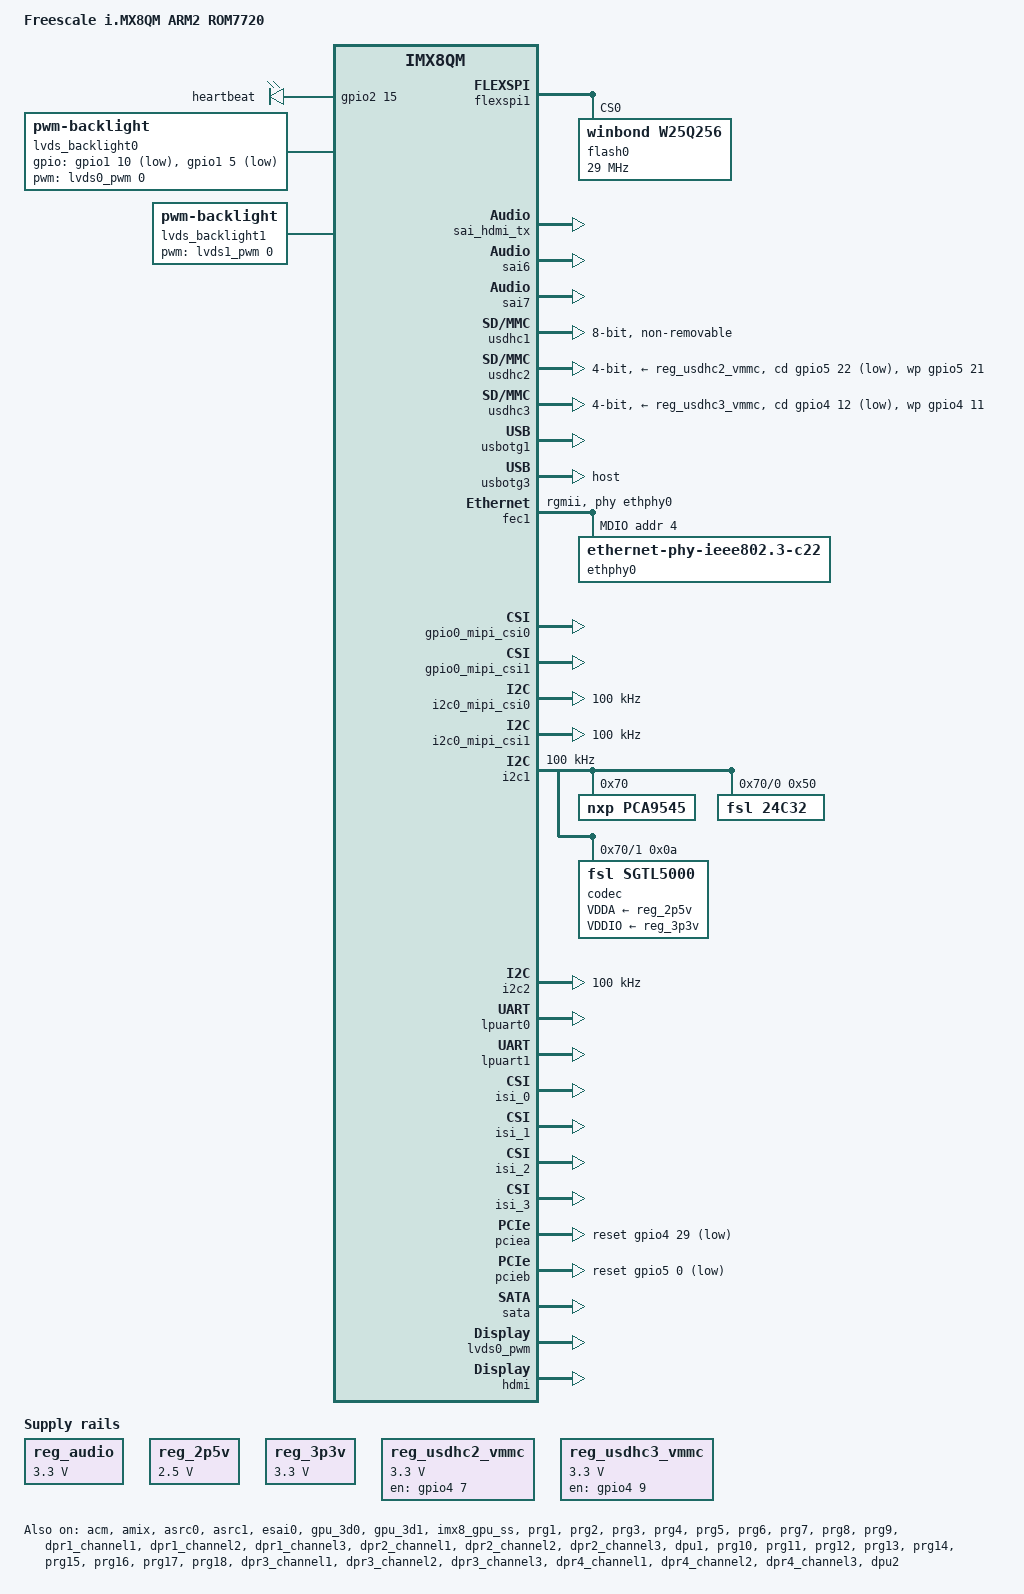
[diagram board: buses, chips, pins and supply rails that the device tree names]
/*
 * Copyright 2017 NXP
 *
 * This program is free software; you can redistribute it and/or
 * modify it under the terms of the GNU General Public License
 * as published by the Free Software Foundation; either version 2
 * of the License, or (at your option) any later version.
 *
 * This program is distributed in the hope that it will be useful,
 * but WITHOUT ANY WARRANTY; without even the implied warranty of
 * MERCHANTABILITY or FITNESS FOR A PARTICULAR PURPOSE.  See the
 * GNU General Public License for more details.
 */

/dts-v1/;

#include "fsl-imx8qm.dtsi"

/ {
	model = "Freescale i.MX8QM ARM2 ROM7720";

	compatible = "fsl,imx8qm-arm2", "fsl,imx8qm";
/*
	bcmdhd_wlan_0: bcmdhd_wlan@0 {
		compatible = "android,bcmdhd_wlan";
		bcmdhd_fw = "/lib/firmware/bcm/1FD_BCM89359/fw_bcmdhd.bin";
		bcmdhd_nv = "/lib/firmware/bcm/1FD_BCM89359/bcmdhd.cal";
	};
*/
	chosen {
		bootargs = "console=ttyLP0,115200 earlycon=lpuart32,0x5a060000,115200";
		stdout-path = &lpuart0;
	};

	leds {
		compatible = "gpio-leds";
		pinctrl-names = "default";
		pinctrl-0 = <&pinctrl_gpio_leds>;
		user {
			label = "heartbeat";
			gpios = <&gpio2 15 0>;
			default-state = "on";
			linux,default-trigger = "heartbeat";
		};
	};

	regulators {
		compatible = "simple-bus";
		#address-cells = <1>;
		#size-cells = <0>;

		reg_audio: regulator@0 {
			compatible = "regulator-fixed";
			reg = <2>;
			regulator-name = "cs42888_supply";
			regulator-min-microvolt = <3300000>;
			regulator-max-microvolt = <3300000>;
			regulator-always-on;
		};

		reg_2p5v: 2p5v {
			compatible = "regulator-fixed";
			regulator-name = "2P5V";
			regulator-min-microvolt = <2500000>;
			regulator-max-microvolt = <2500000>;
			regulator-always-on;
		};

		reg_3p3v: 3p3v {
			compatible = "regulator-fixed";
			regulator-name = "3P3V";
			regulator-min-microvolt = <3300000>;
			regulator-max-microvolt = <3300000>;
			regulator-always-on;
		};
		/*
		reg_can_en: regulator-can-gen {
			compatible = "regulator-fixed";
			regulator-name = "can-en";
			regulator-min-microvolt = <3300000>;
			regulator-max-microvolt = <3300000>;
			gpio = <&pca9557_b 5 GPIO_ACTIVE_HIGH>;
			enable-active-high;
		};

		reg_can_stby: regulator-can-stby {
			compatible = "regulator-fixed";
			regulator-name = "can-stby";
			regulator-min-microvolt = <3300000>;
			regulator-max-microvolt = <3300000>;
			gpio = <&pca9557_b 4 GPIO_ACTIVE_HIGH>;
			enable-active-high;
			vin-supply = <&reg_can_en>;
		};
		*/
		reg_usdhc2_vmmc: usdhc2_vmmc {
			compatible = "regulator-fixed";
			regulator-name = "sw-3p3-sd1";
			regulator-min-microvolt = <3300000>;
			regulator-max-microvolt = <3300000>;
			gpio = <&gpio4 7 GPIO_ACTIVE_HIGH>;
			off-on-delay = <3000>;
			enable-active-high;
		};

 		reg_usdhc3_vmmc: usdhc3_vmmc {
			compatible = "regulator-fixed";
			regulator-name = "sw-3p3-sd2";
			regulator-min-microvolt = <3300000>;
			regulator-max-microvolt = <3300000>;
			gpio = <&gpio4 9 GPIO_ACTIVE_HIGH>;
			enable-active-high;
		};
/*
		epdev_on: fixedregulator@100 {
			compatible = "regulator-fixed";
			regulator-min-microvolt = <3300000>;
			regulator-max-microvolt = <3300000>;
			regulator-name = "epdev_on";
			gpio = <&pca9557_b 3 0>;
			enable-active-high;
		};
*/
	};
/*
	sound-cs42888 {
		compatible = "fsl,imx8qm-sabreauto-cs42888",
				"fsl,imx-audio-cs42888";
		model = "imx-cs42888";
		esai-controller = <&esai0>;
		audio-codec = <&codec>;
		asrc-controller = <&asrc0>;
	};
*/
	sound-amix-sai {
#if 0
		status = "disabled";
#else
		compatible = "fsl,imx-audio-amix";
		model = "amix-audio-sai";
		dais = <&sai6>, <&sai7>;
		amix-controller = <&amix>;
#endif
	};

	sound-hdmi {
		compatible = "fsl,imx-audio-cdnhdmi";
		model = "imx-audio-hdmi";
		audio-cpu = <&sai_hdmi_tx>;
		constraint-rate = <48000>;
		protocol = <1>;
	};

	lvds_backlight0: lvds_backlight@0 {
		compatible = "pwm-backlight";
		pwms = <&lvds0_pwm 0 100000 0>;

		brightness-levels = < 0  1  2  3  4  5  6  7  8  9
				     10 11 12 13 14 15 16 17 18 19
				     20 21 22 23 24 25 26 27 28 29
				     30 31 32 33 34 35 36 37 38 39
				     40 41 42 43 44 45 46 47 48 49
				     50 51 52 53 54 55 56 57 58 59
				     60 61 62 63 64 65 66 67 68 69
				     70 71 72 73 74 75 76 77 78 79
				     80 81 82 83 84 85 86 87 88 89
				     90 91 92 93 94 95 96 97 98 99
				    100>;
		default-brightness-level = <80>;
	};

	lvds_backlight1: lvds_backlight@1 {
		compatible = "pwm-backlight";
		pwms = <&lvds1_pwm 0 100000 0>;

		brightness-levels = < 0  1  2  3  4  5  6  7  8  9
				     10 11 12 13 14 15 16 17 18 19
				     20 21 22 23 24 25 26 27 28 29
				     30 31 32 33 34 35 36 37 38 39
				     40 41 42 43 44 45 46 47 48 49
				     50 51 52 53 54 55 56 57 58 59
				     60 61 62 63 64 65 66 67 68 69
				     70 71 72 73 74 75 76 77 78 79
				     80 81 82 83 84 85 86 87 88 89
				     90 91 92 93 94 95 96 97 98 99
				    100>;
		default-brightness-level = <80>;
	};

	flexspi1: flexspi@05d130000 {
		#address-cells = <1>;
		#size-cells = <0>;
		compatible = "fsl,imx8qm-flexspi";
		reg = <0x0 0x5d130000 0x0 0x10000>,
			<0x0 0x08000000 0x0 0x19ffffff>;
		reg-names = "FlexSPI", "FlexSPI-memory";
		interrupts = <GIC_SPI 93 IRQ_TYPE_LEVEL_HIGH>;
		clocks = <&clk IMX8QM_FSPI1_CLK>;
		assigned-clock-rates = <29000000>;
		clock-names = "fspi";
		power-domains = <&pd_lsio>;
		status = "okay";
	};  
};

&acm {
	status = "okay";
};

&amix {
	status = "okay";
};

&asrc0 {
	assigned-clocks = <&clk IMX8QM_AUD_PLL0_DIV>,
			<&clk IMX8QM_AUD_ACM_AUD_PLL_CLK0_DIV>,
			<&clk IMX8QM_AUD_ACM_AUD_REC_CLK0_DIV>;
	assigned-clock-rates = <786432000>, <49152000>, <24576000>;
	fsl,asrc-rate  = <48000>;
	status = "okay";
};

&asrc1 {
	fsl,asrc-rate = <48000>;
	assigned-clocks = <&clk IMX8QM_AUD_PLL0_DIV>,
			<&clk IMX8QM_AUD_ACM_AUD_PLL_CLK0_DIV>,
			<&clk IMX8QM_AUD_ACM_AUD_REC_CLK0_DIV>;
	assigned-clock-rates = <786432000>, <49152000>, <24576000>;
	status = "okay";
};

&esai0 {
	pinctrl-names = "default";
	pinctrl-0 = <&pinctrl_esai0>;
	assigned-clocks = <&clk IMX8QM_ACM_ESAI0_MCLK_SEL>,
			<&clk IMX8QM_AUD_PLL0_DIV>,
			<&clk IMX8QM_AUD_ACM_AUD_PLL_CLK0_DIV>,
			<&clk IMX8QM_AUD_ACM_AUD_REC_CLK0_DIV>,
			<&clk IMX8QM_AUD_ESAI_0_EXTAL_IPG>;
	assigned-clock-parents = <&clk IMX8QM_AUD_ACM_AUD_PLL_CLK0_CLK>;
	assigned-clock-rates = <0>, <786432000>, <49152000>, <24576000>, <49152000>;
	status = "okay";
};

&sai_hdmi_tx {
	assigned-clocks =<&clk IMX8QM_ACM_HDMI_TX_SAI0_MCLK_SEL>,
			<&clk IMX8QM_AUD_PLL0_DIV>,
			<&clk IMX8QM_AUD_ACM_AUD_PLL_CLK0_DIV>,
			<&clk IMX8QM_AUD_ACM_AUD_REC_CLK0_DIV>,
			<&clk IMX8QM_AUD_SAI_HDMITX0_MCLK>;
	assigned-clock-parents = <&clk IMX8QM_AUD_ACM_AUD_PLL_CLK0_CLK>;
	assigned-clock-rates = <0>, <786432000>, <49152000>, <24576000>, <49152000>;
	fsl,sai-asynchronous;
	status = "okay";
};

&sai6 {
	assigned-clocks = <&clk IMX8QM_ACM_SAI6_MCLK_SEL>,
			<&clk IMX8QM_AUD_PLL1_DIV>,
			<&clk IMX8QM_AUD_ACM_AUD_PLL_CLK1_DIV>,
			<&clk IMX8QM_AUD_ACM_AUD_REC_CLK1_DIV>,
			<&clk IMX8QM_AUD_SAI_6_MCLK>;
	assigned-clock-parents = <&clk IMX8QM_AUD_ACM_AUD_PLL_CLK1_CLK>;
	assigned-clock-rates = <0>, <786432000>, <98304000>, <24576000>, <98304000>;
	fsl,sai-asynchronous;
	fsl,txm-rxs;
	status = "okay";
};

&sai7 {
	assigned-clocks = <&clk IMX8QM_ACM_SAI7_MCLK_SEL>,
			<&clk IMX8QM_AUD_PLL1_DIV>,
			<&clk IMX8QM_AUD_ACM_AUD_PLL_CLK1_DIV>,
			<&clk IMX8QM_AUD_ACM_AUD_REC_CLK1_DIV>,
			<&clk IMX8QM_AUD_SAI_7_MCLK>;
	assigned-clock-parents = <&clk IMX8QM_AUD_ACM_AUD_PLL_CLK1_CLK>;
	assigned-clock-rates = <0>, <786432000>, <98304000>, <24576000>, <98304000>;
	fsl,sai-asynchronous;
	fsl,txm-rxs;
	status = "okay";
};

&iomuxc {
	imx8qm-arm2 {

		pinctrl_esai0: esai0grp {
			fsl,pins = <
				SC_P_ESAI0_FSR_AUD_ESAI0_FSR		0xc600004c
				SC_P_ESAI0_FST_AUD_ESAI0_FST		0xc600004c
				SC_P_ESAI0_SCKR_AUD_ESAI0_SCKR		0xc600004c
				SC_P_ESAI0_SCKT_AUD_ESAI0_SCKT		0xc600004c
				SC_P_ESAI0_TX0_AUD_ESAI0_TX0		0xc600004c
				SC_P_ESAI0_TX1_AUD_ESAI0_TX1		0xc600004c
				SC_P_ESAI0_TX2_RX3_AUD_ESAI0_TX2_RX3	0xc600004c
				SC_P_ESAI0_TX3_RX2_AUD_ESAI0_TX3_RX2	0xc600004c
				SC_P_ESAI0_TX4_RX1_AUD_ESAI0_TX4_RX1	0xc600004c
				SC_P_ESAI0_TX5_RX0_AUD_ESAI0_TX5_RX0	0xc600004c
				SC_P_MCLK_OUT0_AUD_ACM_MCLK_OUT0	0xc600004c
			>;
		};

		pinctrl_fec1: fec1grp {
			fsl,pins = <
				SC_P_ENET0_MDC_CONN_ENET0_MDC			0x06000020
				SC_P_ENET0_MDIO_CONN_ENET0_MDIO			0x06000020
				SC_P_ENET0_RGMII_TX_CTL_CONN_ENET0_RGMII_TX_CTL	0x06000020
				SC_P_ENET0_RGMII_TXC_CONN_ENET0_RGMII_TXC	0x06000020
				SC_P_ENET0_RGMII_TXD0_CONN_ENET0_RGMII_TXD0	0x06000020
				SC_P_ENET0_RGMII_TXD1_CONN_ENET0_RGMII_TXD1	0x06000020
				SC_P_ENET0_RGMII_TXD2_CONN_ENET0_RGMII_TXD2	0x06000020
				SC_P_ENET0_RGMII_TXD3_CONN_ENET0_RGMII_TXD3	0x06000020
				SC_P_ENET0_RGMII_RXC_CONN_ENET0_RGMII_RXC	0x06000020
				SC_P_ENET0_RGMII_RX_CTL_CONN_ENET0_RGMII_RX_CTL	0x06000020
				SC_P_ENET0_RGMII_RXD0_CONN_ENET0_RGMII_RXD0	0x06000020
				SC_P_ENET0_RGMII_RXD1_CONN_ENET0_RGMII_RXD1	0x06000020
				SC_P_ENET0_RGMII_RXD2_CONN_ENET0_RGMII_RXD2	0x06000020
				SC_P_ENET0_RGMII_RXD3_CONN_ENET0_RGMII_RXD3	0x06000020
			>;
		};
/*
		pinctrl_fec2: fec2grp {
			fsl,pins = <
				SC_P_ENET1_MDC_CONN_ENET1_MDC			0x06000020
				SC_P_ENET1_MDIO_CONN_ENET1_MDIO			0x06000020
				SC_P_ENET1_RGMII_TX_CTL_CONN_ENET1_RGMII_TX_CTL	0x06000020
				SC_P_ENET1_RGMII_TXC_CONN_ENET1_RGMII_TXC	0x06000020
				SC_P_ENET1_RGMII_TXD0_CONN_ENET1_RGMII_TXD0	0x06000020
				SC_P_ENET1_RGMII_TXD1_CONN_ENET1_RGMII_TXD1	0x06000020
				SC_P_ENET1_RGMII_TXD2_CONN_ENET1_RGMII_TXD2	0x06000020
				SC_P_ENET1_RGMII_TXD3_CONN_ENET1_RGMII_TXD3	0x06000020
				SC_P_ENET1_RGMII_RXC_CONN_ENET1_RGMII_RXC	0x06000020
				SC_P_ENET1_RGMII_RX_CTL_CONN_ENET1_RGMII_RX_CTL	0x06000020
				SC_P_ENET1_RGMII_RXD0_CONN_ENET1_RGMII_RXD0	0x06000020
				SC_P_ENET1_RGMII_RXD1_CONN_ENET1_RGMII_RXD1	0x06000020
				SC_P_ENET1_RGMII_RXD2_CONN_ENET1_RGMII_RXD2	0x06000020
				SC_P_ENET1_RGMII_RXD3_CONN_ENET1_RGMII_RXD3	0x06000020
			>;
		};

		pinctrl_lvds0_lpi2c1: lvds0lpi2c1grp {
			fsl,pins = <
				SC_P_LVDS0_I2C1_SCL_LVDS0_I2C1_SCL	0xc600004c
				SC_P_LVDS0_I2C1_SDA_LVDS0_I2C1_SDA	0xc600004c
			>;
		};
*/
		pinctrl_lvds1_lpi2c1: lvds1lpi2c1grp {
			fsl,pins = <
				SC_P_LVDS1_I2C1_SCL_LVDS1_I2C1_SCL	0xc600004c
				SC_P_LVDS1_I2C1_SDA_LVDS1_I2C1_SDA	0xc600004c
			>;
		};
		/*
		pinctrl_hdmi_lpi2c0: hdmilpi2c0grp {
			fsl,pins = <
				SC_P_HDMI_TX0_TS_SCL_HDMI_TX0_I2C0_SCL  0xc600004c
				SC_P_HDMI_TX0_TS_SDA_HDMI_TX0_I2C0_SDA  0xc600004c
			>;
		};

		pinctrl_mipi0_lpi2c0: mipi0_lpi2c0grp {
			fsl,pins = <
				SC_P_MIPI_DSI0_I2C0_SCL_MIPI_DSI0_I2C0_SCL	0xc600004c
				SC_P_MIPI_DSI0_I2C0_SDA_MIPI_DSI0_I2C0_SDA	0xc600004c
			>;
		};

		pinctrl_mipi1_lpi2c0: mipi1_lpi2c0grp {
			fsl,pins = <
				SC_P_MIPI_DSI1_I2C0_SCL_MIPI_DSI1_I2C0_SCL	0xc600004c
				SC_P_MIPI_DSI1_I2C0_SDA_MIPI_DSI1_I2C0_SDA	0xc600004c
			>;
		};

		pinctrl_mipi_dsi_0_1_en: mipi_dsi_0_1_en {
			fsl,pins = <
				SC_P_LVDS0_I2C0_SDA_LSIO_GPIO1_IO07		0x00000021
			>;
		};
		*/
		pinctrl_lpi2c0: lpi2c0grp {
			fsl,pins = <
				SC_P_HDMI_TX0_TS_SCL_DMA_I2C0_SCL   0xc600004c
				SC_P_HDMI_TX0_TS_SDA_DMA_I2C0_SDA   0xc600004c
			>;
		};

		pinctrl_csi0_lpi2c0: csi0lpi2c0grp {
			fsl,pins = <
				SC_P_MIPI_CSI0_I2C0_SCL_MIPI_CSI0_I2C0_SCL  0xc2000020
				SC_P_MIPI_CSI0_I2C0_SDA_MIPI_CSI0_I2C0_SDA  0xc2000020
			>;
		};

		pinctrl_csi1_lpi2c0: csi1lpi2c0grp {
			fsl,pins = <
				SC_P_MIPI_CSI1_I2C0_SCL_MIPI_CSI1_I2C0_SCL  0xc2000020
				SC_P_MIPI_CSI1_I2C0_SDA_MIPI_CSI1_I2C0_SDA  0xc2000020
			>;
		};

		pinctrl_lpi2c1: lpi2c1grp {
			fsl,pins = <
				SC_P_GPT0_CLK_DMA_I2C1_SCL              0xc600004c
				SC_P_GPT0_CAPTURE_DMA_I2C1_SDA          0xc600004c
			>;
		};

		pinctrl_lpi2c2: lpi2c2grp {
			fsl,pins = <
				SC_P_GPT1_CLK_DMA_I2C2_SCL              0xc600004c
				SC_P_GPT1_CAPTURE_DMA_I2C2_SDA          0xc600004c
			>;
		};

		pinctrl_lpuart0: lpuart0grp {
			fsl,pins = <
				SC_P_UART0_RX_DMA_UART0_RX		0x06000020
				SC_P_UART0_TX_DMA_UART0_TX		0x06000020
			>;
		};
#if 1
		pinctrl_lpuart1: lpuart1grp {
			fsl,pins = <
				SC_P_UART1_RX_DMA_UART1_RX		0x06000020
				SC_P_UART1_TX_DMA_UART1_TX		0x06000020
			>;
		};
#else
		pinctrl_lpuart1: lpuart1grp {
			fsl,pins = <
				SC_P_UART1_RX_DMA_UART1_RX		0x06000020
				SC_P_UART1_TX_DMA_UART1_TX		0x06000020
				SC_P_UART1_CTS_B_DMA_UART1_CTS_B	0x06000020
				SC_P_UART1_RTS_B_DMA_UART1_RTS_B	0x06000020
			>;
		};
#endif
/*
		pinctrl_lpuart3: lpuart3grp {
			fsl,pins = <
				SC_P_M41_GPIO0_00_DMA_UART3_RX		0x06000020
				SC_P_M41_GPIO0_01_DMA_UART3_TX		0x06000020
			>;
		};

		pinctrl_mlb: mlbgrp {
			fsl,pins = <
				SC_P_MLB_SIG_CONN_MLB_SIG               0x21
				SC_P_MLB_CLK_CONN_MLB_CLK               0x21
				SC_P_MLB_DATA_CONN_MLB_DATA             0x21
			>;
		};

		pinctrl_isl29023: isl29023grp {
			fsl,pins = <
				SC_P_ADC_IN2_LSIO_GPIO3_IO20		0x00000021
			>;
		};
*/
		pinctrl_usdhc1: usdhc1grp {
			fsl,pins = <
				SC_P_EMMC0_CLK_CONN_EMMC0_CLK		0x06000041
				SC_P_EMMC0_CMD_CONN_EMMC0_CMD		0x00000021
				SC_P_EMMC0_DATA0_CONN_EMMC0_DATA0	0x00000021
				SC_P_EMMC0_DATA1_CONN_EMMC0_DATA1	0x00000021
				SC_P_EMMC0_DATA2_CONN_EMMC0_DATA2	0x00000021
				SC_P_EMMC0_DATA3_CONN_EMMC0_DATA3	0x00000021
				SC_P_EMMC0_DATA4_CONN_EMMC0_DATA4	0x00000021
				SC_P_EMMC0_DATA5_CONN_EMMC0_DATA5	0x00000021
				SC_P_EMMC0_DATA6_CONN_EMMC0_DATA6	0x00000021
				SC_P_EMMC0_DATA7_CONN_EMMC0_DATA7	0x00000021
				SC_P_EMMC0_STROBE_CONN_EMMC0_STROBE	0x06000041
				SC_P_EMMC0_RESET_B_CONN_EMMC0_RESET_B	0x00000021
			>;
		};

		pinctrl_usdhc1_100mhz: usdhc1grp100mhz {
			fsl,pins = <
				SC_P_EMMC0_CLK_CONN_EMMC0_CLK		0x06000040
				SC_P_EMMC0_CMD_CONN_EMMC0_CMD		0x00000020
				SC_P_EMMC0_DATA0_CONN_EMMC0_DATA0	0x00000020
				SC_P_EMMC0_DATA1_CONN_EMMC0_DATA1	0x00000020
				SC_P_EMMC0_DATA2_CONN_EMMC0_DATA2	0x00000020
				SC_P_EMMC0_DATA3_CONN_EMMC0_DATA3	0x00000020
				SC_P_EMMC0_DATA4_CONN_EMMC0_DATA4	0x00000020
				SC_P_EMMC0_DATA5_CONN_EMMC0_DATA5	0x00000020
				SC_P_EMMC0_DATA6_CONN_EMMC0_DATA6	0x00000020
				SC_P_EMMC0_DATA7_CONN_EMMC0_DATA7	0x00000020
				SC_P_EMMC0_STROBE_CONN_EMMC0_STROBE	0x06000040
				SC_P_EMMC0_RESET_B_CONN_EMMC0_RESET_B	0x00000020
			>;
		};

		pinctrl_usdhc1_200mhz: usdhc1grp200mhz {
			fsl,pins = <
				SC_P_EMMC0_CLK_CONN_EMMC0_CLK		0x06000040
				SC_P_EMMC0_CMD_CONN_EMMC0_CMD		0x00000020
				SC_P_EMMC0_DATA0_CONN_EMMC0_DATA0	0x00000020
				SC_P_EMMC0_DATA1_CONN_EMMC0_DATA1	0x00000020
				SC_P_EMMC0_DATA2_CONN_EMMC0_DATA2	0x00000020
				SC_P_EMMC0_DATA3_CONN_EMMC0_DATA3	0x00000020
				SC_P_EMMC0_DATA4_CONN_EMMC0_DATA4	0x00000020
				SC_P_EMMC0_DATA5_CONN_EMMC0_DATA5	0x00000020
				SC_P_EMMC0_DATA6_CONN_EMMC0_DATA6	0x00000020
				SC_P_EMMC0_DATA7_CONN_EMMC0_DATA7	0x00000020
				SC_P_EMMC0_STROBE_CONN_EMMC0_STROBE	0x06000040
				SC_P_EMMC0_RESET_B_CONN_EMMC0_RESET_B	0x00000020
			>;
		};

		pinctrl_usdhc2_gpio: usdhc2grpgpio {
			fsl,pins = <
				SC_P_USDHC1_DATA6_LSIO_GPIO5_IO21	0x00000021
				SC_P_USDHC1_DATA7_LSIO_GPIO5_IO22	0x00000021
				SC_P_USDHC1_RESET_B_LSIO_GPIO4_IO07	0x00000021
			>;
		};

		pinctrl_usdhc2: usdhc2grp {
			fsl,pins = <
				SC_P_USDHC1_CLK_CONN_USDHC1_CLK		0x06000041
				SC_P_USDHC1_CMD_CONN_USDHC1_CMD		0x00000021
				SC_P_USDHC1_DATA0_CONN_USDHC1_DATA0	0x00000021
				SC_P_USDHC1_DATA1_CONN_USDHC1_DATA1	0x00000021
				SC_P_USDHC1_DATA2_CONN_USDHC1_DATA2	0x00000021
				SC_P_USDHC1_DATA3_CONN_USDHC1_DATA3	0x00000021
				SC_P_USDHC1_VSELECT_CONN_USDHC1_VSELECT	0x00000021
			>;
		};

		pinctrl_usdhc2_100mhz: usdhc2grp100mhz {
			fsl,pins = <
				SC_P_USDHC1_CLK_CONN_USDHC1_CLK		0x06000040
				SC_P_USDHC1_CMD_CONN_USDHC1_CMD		0x00000020
				SC_P_USDHC1_DATA0_CONN_USDHC1_DATA0	0x00000020
				SC_P_USDHC1_DATA1_CONN_USDHC1_DATA1	0x00000020
				SC_P_USDHC1_DATA2_CONN_USDHC1_DATA2	0x00000020
				SC_P_USDHC1_DATA3_CONN_USDHC1_DATA3	0x00000020
				SC_P_USDHC1_VSELECT_CONN_USDHC1_VSELECT	0x00000020
			>;
		};

		pinctrl_usdhc2_200mhz: usdhc2grp200mhz {
			fsl,pins = <
				SC_P_USDHC1_CLK_CONN_USDHC1_CLK		0x06000040
				SC_P_USDHC1_CMD_CONN_USDHC1_CMD		0x00000020
				SC_P_USDHC1_DATA0_CONN_USDHC1_DATA0	0x00000020
				SC_P_USDHC1_DATA1_CONN_USDHC1_DATA1	0x00000020
				SC_P_USDHC1_DATA2_CONN_USDHC1_DATA2	0x00000020
				SC_P_USDHC1_DATA3_CONN_USDHC1_DATA3	0x00000020
				SC_P_USDHC1_VSELECT_CONN_USDHC1_VSELECT	0x00000020
			>;
		};

		pinctrl_usdhc3_gpio: usdhc3grpgpio {
			fsl,pins = <
				SC_P_USDHC2_WP_LSIO_GPIO4_IO11	0x00000021
				SC_P_USDHC2_CD_B_LSIO_GPIO4_IO12	0x00000021
				SC_P_USDHC2_RESET_B_LSIO_GPIO4_IO09	0x00000021
			>;
		};

		pinctrl_usdhc3: usdhc3grp {
			fsl,pins = <
				SC_P_USDHC2_CLK_CONN_USDHC2_CLK		0x06000041
				SC_P_USDHC2_CMD_CONN_USDHC2_CMD		0x00000021
				SC_P_USDHC2_DATA0_CONN_USDHC2_DATA0	0x00000021
				SC_P_USDHC2_DATA1_CONN_USDHC2_DATA1	0x00000021
				SC_P_USDHC2_DATA2_CONN_USDHC2_DATA2	0x00000021
				SC_P_USDHC2_DATA3_CONN_USDHC2_DATA3	0x00000021
				SC_P_USDHC2_VSELECT_CONN_USDHC2_VSELECT	0x00000021
			>;
		};

		pinctrl_usdhc3_100mhz: usdhc3grp100mhz {
			fsl,pins = <
				SC_P_USDHC2_CLK_CONN_USDHC2_CLK		0x06000040
				SC_P_USDHC2_CMD_CONN_USDHC2_CMD		0x00000020
				SC_P_USDHC2_DATA0_CONN_USDHC2_DATA0	0x00000020
				SC_P_USDHC2_DATA1_CONN_USDHC2_DATA1	0x00000020
				SC_P_USDHC2_DATA2_CONN_USDHC2_DATA2	0x00000020
				SC_P_USDHC2_DATA3_CONN_USDHC2_DATA3	0x00000020
				SC_P_USDHC2_VSELECT_CONN_USDHC2_VSELECT	0x00000020
			>;
		};

		pinctrl_usdhc3_200mhz: usdhc3grp200mhz {
			fsl,pins = <
				SC_P_USDHC2_CLK_CONN_USDHC2_CLK		0x06000040
				SC_P_USDHC2_CMD_CONN_USDHC2_CMD		0x00000020
				SC_P_USDHC2_DATA0_CONN_USDHC2_DATA0	0x00000020
				SC_P_USDHC2_DATA1_CONN_USDHC2_DATA1	0x00000020
				SC_P_USDHC2_DATA2_CONN_USDHC2_DATA2	0x00000020
				SC_P_USDHC2_DATA3_CONN_USDHC2_DATA3	0x00000020
				SC_P_USDHC2_VSELECT_CONN_USDHC2_VSELECT	0x00000020
			>;
		};

		pinctrl_flexcan1: flexcan0grp {
			fsl,pins = <
				SC_P_FLEXCAN0_TX_DMA_FLEXCAN0_TX	0x21
				SC_P_FLEXCAN0_RX_DMA_FLEXCAN0_RX	0x21
			>;
		};

		pinctrl_flexcan2: flexcan1grp {
			fsl,pins = <
				SC_P_FLEXCAN1_TX_DMA_FLEXCAN1_TX	0x21
				SC_P_FLEXCAN1_RX_DMA_FLEXCAN1_RX	0x21
			>;
		};

		pinctrl_flexcan3: flexcan2grp {
			fsl,pins = <
				SC_P_FLEXCAN2_TX_DMA_FLEXCAN2_TX	0x21
				SC_P_FLEXCAN2_RX_DMA_FLEXCAN2_RX	0x21
			>;
		};
/*
		pinctrl_flexspi0: flexspi0grp {
			fsl,pins = <
				SC_P_QSPI0A_DATA0_LSIO_QSPI0A_DATA0	0x0600004c
				SC_P_QSPI0A_DATA1_LSIO_QSPI0A_DATA1	0x0600004c
				SC_P_QSPI0A_DATA2_LSIO_QSPI0A_DATA2	0x0600004c
				SC_P_QSPI0A_DATA3_LSIO_QSPI0A_DATA3	0x0600004c
				SC_P_QSPI0A_DQS_LSIO_QSPI0A_DQS		0x0600004c
				SC_P_QSPI0A_SS0_B_LSIO_QSPI0A_SS0_B	0x0600004c
				SC_P_QSPI0A_SS1_B_LSIO_QSPI0A_SS1_B	0x0600004c
				SC_P_QSPI0A_SCLK_LSIO_QSPI0A_SCLK	0x0600004c
				SC_P_QSPI0B_SCLK_LSIO_QSPI0B_SCLK	0x0600004c
				SC_P_QSPI0B_DATA0_LSIO_QSPI0B_DATA0	0x0600004c
				SC_P_QSPI0B_DATA1_LSIO_QSPI0B_DATA1	0x0600004c
				SC_P_QSPI0B_DATA2_LSIO_QSPI0B_DATA2	0x0600004c
				SC_P_QSPI0B_DATA3_LSIO_QSPI0B_DATA3	0x0600004c
				SC_P_QSPI0B_DQS_LSIO_QSPI0B_DQS		0x0600004c
				SC_P_QSPI0B_SS0_B_LSIO_QSPI0B_SS0_B	0x0600004c
				SC_P_QSPI0B_SS1_B_LSIO_QSPI0B_SS1_B	0x0600004c
			>;
		};
*/
		pinctrl_flexspi1: flexspi1grp {
			fsl,pins = <
				SC_P_QSPI1A_SCLK_LSIO_QSPI1A_SCLK	0x0600004c
				SC_P_QSPI0A_SS0_B_LSIO_QSPI0A_SS0_B	0x0600004c
				SC_P_QSPI1A_DATA0_LSIO_QSPI1A_DATA0	0x0600004c
				SC_P_QSPI1A_DATA1_LSIO_QSPI1A_DATA1	0x0600004c
				SC_P_QSPI1A_DATA2_LSIO_QSPI1A_DATA2	0x0600004c
				SC_P_QSPI1A_DATA3_LSIO_QSPI1A_DATA3	0x0600004c
			>;
		};

		pinctrl_gpio_leds: gpioledsgrp {
			fsl,pins = <
				SC_P_SPDIF0_TX_LSIO_GPIO2_IO15		0x00000021
			>;
		};
#if 1
		pinctrl_pciea: pcieagrp{
			fsl,pins = <
				SC_P_PCIE_CTRL0_CLKREQ_B_LSIO_GPIO4_IO27	0xC0000001
				SC_P_PCIE_CTRL0_WAKE_B_LSIO_GPIO4_IO28		0x00000021
				SC_P_PCIE_CTRL0_PERST_B_LSIO_GPIO4_IO29		0x00000021
			>;
		};

		pinctrl_pcieb: pciebgrp{
			fsl,pins = <
				SC_P_PCIE_CTRL1_CLKREQ_B_LSIO_GPIO4_IO30	0x00000021
				SC_P_PCIE_CTRL1_WAKE_B_LSIO_GPIO4_IO31		0x00000021
				SC_P_PCIE_CTRL1_PERST_B_LSIO_GPIO5_IO00		0x00000021
			>;
		};
#else
		pinctrl_pciea: pcieagrp{
			fsl,pins = <
				SC_P_PCIE_CTRL0_CLKREQ_B_LSIO_GPIO4_IO27	0x00000021
				SC_P_PCIE_CTRL0_WAKE_B_LSIO_GPIO4_IO28		0x00000021
				SC_P_PCIE_CTRL0_PERST_B_LSIO_GPIO4_IO29		0x00000021
			>;
		};

		pinctrl_pcieb: pciebgrp{
			fsl,pins = <
				SC_P_PCIE_CTRL1_CLKREQ_B_LSIO_GPIO4_IO30	0x00000021
				SC_P_PCIE_CTRL1_WAKE_B_LSIO_GPIO4_IO31		0x00000021
				SC_P_PCIE_CTRL1_PERST_B_LSIO_GPIO5_IO00		0x00000021
			>;
		};
#endif

		pinctrl_usbotg1: usbotg1 {
			fsl,pins = <
				SC_P_USB_SS3_TC0_CONN_USB_OTG1_PWR		0x00000021
			>;
		};

		pinctrl_lvds0_pwm0: lvds0pwm0grp {
			fsl,pins = <
				SC_P_LVDS0_GPIO00_LVDS0_PWM0_OUT	0x00000020
			>;
		};

		pinctrl_lvds0_bklt0: lvds0bklt0grp {
			fsl,pins = <
				SC_P_LVDS1_GPIO00_LSIO_GPIO1_IO10	0x00000021	
			>;
		};

		pinctrl_lvds0_vdd0: lvds0vdd0grp {
			fsl,pins = <
				SC_P_LVDS0_GPIO01_LSIO_GPIO1_IO05	0x00000021
			>;
		};
/*
		pinctrl_lvds1_pwm0: lvds1pwm0grp {
			fsl,pins = <
				SC_P_LVDS1_GPIO00_LVDS1_PWM0_OUT	0x00000020
			>;
		};
*/
		pinctrl_mipi_csi0_gpio: mipicsi0gpiogrp{
			fsl,pins = <
				SC_P_MIPI_CSI0_GPIO0_00_MIPI_CSI0_GPIO0_IO00	0x00000021
				SC_P_MIPI_CSI0_GPIO0_01_MIPI_CSI0_GPIO0_IO01	0x00000021
			>;
		};

		pinctrl_mipi_csi1_gpio: mipicsi1gpiogrp{
			fsl,pins = <
				SC_P_MIPI_CSI1_GPIO0_00_MIPI_CSI1_GPIO0_IO00	0x00000021
				SC_P_MIPI_CSI1_GPIO0_01_MIPI_CSI1_GPIO0_IO01	0x00000021
			>;
		};
	};
};

&gpio2 {
	status = "okay";
};

&gpio5 {
	status = "okay";
};

&usdhc1 {
	pinctrl-names = "default", "state_100mhz", "state_200mhz";
	pinctrl-0 = <&pinctrl_usdhc1>;
	pinctrl-1 = <&pinctrl_usdhc1_100mhz>;
	pinctrl-2 = <&pinctrl_usdhc1_200mhz>;
	bus-width = <8>;
	non-removable;
	status = "okay";
};

&usdhc2 {
	pinctrl-names = "default", "state_100mhz", "state_200mhz";
	pinctrl-0 = <&pinctrl_usdhc2>, <&pinctrl_usdhc2_gpio>;
	pinctrl-1 = <&pinctrl_usdhc2_100mhz>, <&pinctrl_usdhc2_gpio>;
	pinctrl-2 = <&pinctrl_usdhc2_200mhz>, <&pinctrl_usdhc2_gpio>;
	bus-width = <4>;
	cd-gpios = <&gpio5 22 GPIO_ACTIVE_LOW>;
	wp-gpios = <&gpio5 21 GPIO_ACTIVE_HIGH>;
	vmmc-supply = <&reg_usdhc2_vmmc>;
	status = "okay";
};

&usdhc3 {
	pinctrl-names = "default", "state_100mhz", "state_200mhz";
	pinctrl-0 = <&pinctrl_usdhc3>, <&pinctrl_usdhc3_gpio>;
	pinctrl-1 = <&pinctrl_usdhc3_100mhz>, <&pinctrl_usdhc3_gpio>;
	pinctrl-2 = <&pinctrl_usdhc3_200mhz>, <&pinctrl_usdhc3_gpio>;
	bus-width = <4>;
	cd-gpios = <&gpio4 12 GPIO_ACTIVE_LOW>;
	wp-gpios = <&gpio4 11 GPIO_ACTIVE_HIGH>;
	vmmc-supply = <&reg_usdhc3_vmmc>;
	status = "okay";
};

&usbotg1 {
	pinctrl-names = "default";
	pinctrl-0 = <&pinctrl_usbotg1>;
	srp-disable;
	hnp-disable;
	adp-disable;
	power-polarity-active-high;
	disable-over-current;
	status = "okay";
};

&usbotg3 {
	dr_mode = "host";
	status = "okay";
};

&fec1 {
	pinctrl-names = "default";
	pinctrl-0 = <&pinctrl_fec1>;
	phy-mode = "rgmii";
	phy-handle = <&ethphy0>;
	fsl,magic-packet;
	fsl,rgmii_txc_dly;
	fsl,rgmii_rxc_dly;
	status = "okay";

	mdio {
		#address-cells = <1>;
		#size-cells = <0>;

		ethphy0: ethernet-phy@0 {
			compatible = "ethernet-phy-ieee802.3-c22";
			reg = <4>;
//			at803x,led-act-blind-workaround;
			at803x,eee-disabled;
			at803x,vddio-1p8v;
		};
/*
		ethphy1: ethernet-phy@1 {
			compatible = "ethernet-phy-ieee802.3-c22";
			reg = <1>;
			at803x,eee-disabled;
			at803x,vddio-1p8v;
		};
*/
	};
};
/*
&fec2 {
	pinctrl-names = "default";
	pinctrl-0 = <&pinctrl_fec2>;
	phy-mode = "rgmii-id";
	phy-handle = <&ethphy1>;
	fsl,magic-packet;
	status = "okay";
};

&flexcan1 {
	pinctrl-names = "default";
	pinctrl-0 = <&pinctrl_flexcan1>;
	xceiver-supply = <&reg_can_stby>;
	status = "okay";
};

&flexcan2 {
	pinctrl-names = "default";
	pinctrl-0 = <&pinctrl_flexcan2>;
	xceiver-supply = <&reg_can_stby>;
	status = "okay";
};

&flexcan3 {
	pinctrl-names = "default";
	pinctrl-0 = <&pinctrl_flexcan3>;
	xceiver-supply = <&reg_can_stby>;
	status = "okay";
};

&flexspi0 {
	pinctrl-names = "default";
	pinctrl-0 = <&pinctrl_flexspi0>;
	status = "okay";

	flash0: mt35xu512aba@0 {
		reg = <0>;
		#address-cells = <1>;
		#size-cells = <1>;
		compatible = "micron,mt35xu512aba";
		spi-max-frequency = <29000000>;
		spi-nor,ddr-quad-read-dummy = <8>;
	};
};
*/
&flexspi1 {
	pinctrl-names = "default";
	pinctrl-0 = <&pinctrl_flexspi1>;
	status = "okay";

	flash0: w25q256@0 {
		reg = <0>;
		#address-cells = <1>;
		#size-cells = <1>;
		compatible = "winbond,w25q256";
		spi-max-frequency = <29000000>;
		spi-nor,ddr-quad-read-dummy = <8>;
	};
};

&gpio0_mipi_csi0 {
	pinctrl-names = "default";
	pinctrl-0 = <&pinctrl_mipi_csi0_gpio>;
	status = "okay";
};

&gpio0_mipi_csi1 {
	pinctrl-names = "default";
	pinctrl-0 = <&pinctrl_mipi_csi1_gpio>;
	status = "okay";
};

&i2c0_mipi_csi0 {
	#address-cells = <1>;
	#size-cells = <0>;
	pinctrl-names = "default";
    pinctrl-0 = <&pinctrl_csi0_lpi2c0>;
	clock-frequency = <100000>;
	status = "okay";
	/*
	max9286_mipi@6A	 {
		compatible = "maxim,max9286_mipi";
		reg = <0x6A>;
		clocks = <&clk IMX8QM_CLK_DUMMY>;
		clock-names = "capture_mclk";
		mclk = <27000000>;
		mclk_source = <0>;
		pwn-gpios = <&gpio0_mipi_csi0 0 GPIO_ACTIVE_HIGH>;
		virtual-channel;
		port {
			max9286_0_ep: endpoint {
			remote-endpoint = <&mipi_csi0_ep>;
			data-lanes = <1 2 3 4>;
			};
		};
	};
	*/
};

&i2c0_mipi_csi1 {
	#address-cells = <1>;
	#size-cells = <0>;
	pinctrl-names = "default";
    pinctrl-0 = <&pinctrl_csi1_lpi2c0>;
	clock-frequency = <100000>;
	status = "okay";
	/*
	max9286_mipi@6A	 {
		compatible = "maxim,max9286_mipi";
		reg = <0x6A>;
		clocks = <&clk IMX8QM_CLK_DUMMY>;
		clock-names = "capture_mclk";
		mclk = <27000000>;
		mclk_source = <0>;
		pwn-gpios = <&gpio0_mipi_csi1 0 GPIO_ACTIVE_HIGH>;
		virtual-channel;
		port {
			max9286_1_ep: endpoint {
			remote-endpoint = <&mipi_csi1_ep>;
			data-lanes = <1 2 3 4>;
			};
		};
	};
	*/
};
/*
&i2c0_hdmi {
	#address-cells = <1>;
	#size-cells = <0>;
	pinctrl-names = "default";
	pinctrl-0 = <&pinctrl_hdmi_lpi2c0>;
	clock-frequency = <100000>;
	status = "disabled";
};
*/
&i2c0 {
	#address-cells = <1>;
	#size-cells = <0>;
	pinctrl-names = "default";
	pinctrl-0 = <&pinctrl_lpi2c0>;
	clock-frequency = <100000>;
	status = "disabled";
	/*
	codec: cs42888@48 {
		compatible = "cirrus,cs42888";
		reg = <0x48>;
		clocks = <&clk IMX8QM_AUD_MCLKOUT0>;
		clock-names = "mclk";
		VA-supply = <&reg_audio>;
		VD-supply = <&reg_audio>;
		VLS-supply = <&reg_audio>;
		VLC-supply = <&reg_audio>;
		reset-gpio = <&pca9557_a 2 1>;
		power-domains = <&pd_mclk_out0>;
	};
	*/
};

&i2c1 {
	#address-cells = <1>;
	#size-cells = <0>;
	clock-frequency = <100000>;
	pinctrl-names = "default";
	pinctrl-0 = <&pinctrl_lpi2c1>;
	status = "okay";
	
	pca9545@70 {
		#address-cells = <1>;
		#size-cells = <0>;
		compatible = "nxp,pca9545";
		reg = <0x70>;

		i2c1@0 {
			reg = <0>;
			#address-cells = <1>;
			#size-cells = <0>;
			24c32@50 {
				compatible = "fsl,24c32";
				reg = <0x50>;
			};
		};

		i2c1@1 {
			reg = <1>;
			#address-cells = <1>;
			#size-cells = <0>;

			codec: sgtl5000@0a {
				compatible = "fsl,sgtl5000";
				reg = <0x0a>;
				clocks = <&clk IMX8QM_AUD_ESAI_1_IPG>;
				VDDA-supply = <&reg_2p5v>;
				VDDIO-supply = <&reg_3p3v>;
				mclk = <16000000>;
				mclk_source = <0>;
			};
		};

	};
	/*
	pca9545_b: gpio@2 {
		compatible = "nxp,pca9545";
		reg = <0x2>;
		gpio-controller;
		#gpio-cells = <2>;
	};

	pca9545_c: gpio@4 {
		compatible = "nxp,pca9545";
		reg = <0x4>;
		gpio-controller;
		#gpio-cells = <2>;
	};

	pca9545_d: gpio@8 {
		compatible = "nxp,pca9545";
		reg = <0x8>;
		gpio-controller;
		#gpio-cells = <2>;
	};
	*/
    /*
	fxas2100x@20 {
		compatible = "fsl,fxas2100x";
		reg = <0x20>;
	};

	fxos8700@1d {
		compatible = "fsl,fxos8700";
		reg = <0x1d>;
	};

	isl29023@44 {
		pinctrl-names = "default";
		pinctrl-0 = <&pinctrl_isl29023>;
		compatible = "fsl,isl29023";
		reg = <0x44>;
		rext = <499>;
		interrupt-parent = <&gpio3>;
		interrupts = <20 2>;
	};

	mpl3115@60 {
		compatible = "fsl,mpl3115";
		reg = <0x60>;
	};
	*/
};

&i2c2 {
	#address-cells = <1>;
	#size-cells = <0>;
	clock-frequency = <100000>;
	pinctrl-names = "default";
	pinctrl-0 = <&pinctrl_lpi2c2>;
	status = "okay";
};

&pd_dma_lpuart0 {
	debug_console;
};

&lpuart0 { /* console */
	pinctrl-names = "default";
	pinctrl-0 = <&pinctrl_lpuart0>;
	status = "okay";
};

&lpuart1 {
	pinctrl-names = "default";
	pinctrl-0 = <&pinctrl_lpuart1>;
	status = "okay";
};
/*
&lpuart3 { // GPS
	pinctrl-names = "default";
	pinctrl-0 = <&pinctrl_lpuart3>;
	status = "okay";
};
*/
/*
&mipi_csi_0 {
	#address-cells = <1>;
	#size-cells = <0>;
	virtual-channel;
	status = "okay";

	// Camera 0  MIPI CSI-2 (CSIS0)
	port@0 {
		reg = <0>;
		mipi_csi0_ep: endpoint {
			remote-endpoint = <&max9286_0_ep>;
			data-lanes = <1 2 3 4>;
		};
	};
};

&mipi_csi_1 {
	#address-cells = <1>;
	#size-cells = <0>;
	virtual-channel;
	status = "disabled";

	// Camera 0 MIPI CSI-2 (CSIS1)
	port@1 {
		reg = <1>;
		mipi_csi1_ep: endpoint {
			remote-endpoint = <&max9286_1_ep>;
			data-lanes = <1 2 3 4>;
		};
	};
};
*/
/*
&mlb {
	pinctrl-names = "default";
	pinctrl-0 = <&pinctrl_mlb>;
	pinctrl-assert-gpios = <&pca9557_d 2 GPIO_ACTIVE_LOW>;
	status = "okay";
};
*/
&isi_0 {
	status = "okay";
};

&isi_1 {
	status = "okay";
};

&isi_2 {
	status = "okay";
};

&isi_3 {
	status = "okay";
};

&gpu_3d0 {
	status = "okay";
};

&gpu_3d1 {
	status = "okay";
};

&imx8_gpu_ss {
	status = "okay";
};

&prg1 {
	status = "okay";
};

&prg2 {
	status = "okay";
};

&prg3 {
	status = "okay";
};

&prg4 {
	status = "okay";
};

&prg5 {
	status = "okay";
};

&prg6 {
	status = "okay";
};

&prg7 {
	status = "okay";
};

&prg8 {
	status = "okay";
};

&prg9 {
	status = "okay";
};

&dpr1_channel1 {
	status = "okay";
};

&dpr1_channel2 {
	status = "okay";
};

&dpr1_channel3 {
	status = "okay";
};

&dpr2_channel1 {
	status = "okay";
};

&dpr2_channel2 {
	status = "okay";
};

&dpr2_channel3 {
	status = "okay";
};

&dpu1 {
	status = "okay";
};

&prg10 {
	status = "okay";
};

&prg11 {
	status = "okay";
};

&prg12 {
	status = "okay";
};

&prg13 {
	status = "okay";
};

&prg14 {
	status = "okay";
};

&prg15 {
	status = "okay";
};

&prg16 {
	status = "okay";
};

&prg17 {
	status = "okay";
};

&prg18 {
	status = "okay";
};

&dpr3_channel1 {
	status = "okay";
};

&dpr3_channel2 {
	status = "okay";
};

&dpr3_channel3 {
	status = "okay";
};

&dpr4_channel1 {
	status = "okay";
};

&dpr4_channel2 {
	status = "okay";
};

&dpr4_channel3 {
	status = "okay";
};

&dpu2 {
	status = "okay";
};

&pciea{
	ext_osc = <0>;
//	hard-wired = <1>;
	pinctrl-names = "default";
	pinctrl-0 = <&pinctrl_pciea>;
	reset-gpio = <&gpio4 29 GPIO_ACTIVE_LOW>;
	disable-gpio = <&gpio4 28 GPIO_ACTIVE_LOW>;
	clkreq-gpio = <&gpio4 27 GPIO_ACTIVE_LOW>;
	assigned-clocks = <&clk IMX8QM_HSIO_AXI_CLK>, <&clk IMX8QM_HSIO_AXI_CLK>, <&clk IMX8QM_HSIO_PER_CLK>, <&clk IMX8QM_HSIO_PER_CLK>, <&clk IMX8QM_HSIO_AXI_CLK>;
	assigned-clocks-parent = <&clk IMX8QM_HSIO_AXI_CLK>, <&clk IMX8QM_HSIO_AXI_CLK>, <&clk IMX8QM_HSIO_PER_CLK>, <&clk IMX8QM_HSIO_PER_CLK>, <&clk IMX8QM_HSIO_AXI_CLK>;
	assigned-clock-rates = <400000000>, <400000000>, <133333333>, <400000000>, <400000000>;
	status = "okay";
};

&pcieb{
	ext_osc = <0>;
//	hard-wired = <1>;
	pinctrl-names = "default";
	pinctrl-0 = <&pinctrl_pcieb>;
	reset-gpio = <&gpio5 0 GPIO_ACTIVE_LOW>;
//	disable-gpio = <&gpio4 31 GPIO_ACTIVE_LOW>;
	clkreq-gpio = <&gpio4 30 GPIO_ACTIVE_LOW>;
//	reset-gpio-active-high = <0>;
//	epdev_on-supply = <&epdev_on>;
	assigned-clocks = <&clk IMX8QM_HSIO_AXI_CLK>, <&clk IMX8QM_HSIO_AXI_CLK>, <&clk IMX8QM_HSIO_PER_CLK>, <&clk IMX8QM_HSIO_PER_CLK>, <&clk IMX8QM_HSIO_AXI_CLK>;
	assigned-clocks-parent = <&clk IMX8QM_HSIO_AXI_CLK>, <&clk IMX8QM_HSIO_AXI_CLK>, <&clk IMX8QM_HSIO_PER_CLK>, <&clk IMX8QM_HSIO_PER_CLK>, <&clk IMX8QM_HSIO_AXI_CLK>;
	assigned-clock-rates = <400000000>, <400000000>, <133333333>, <400000000>, <400000000>;
	status = "okay";
};

&sata {
	assigned-clocks = <&clk IMX8QM_HSIO_SATA_CLK>, <&clk IMX8QM_HSIO_SATA_PER_CLK>;
	assigned-clock-rates = <400000000>, <133333333>;
	status = "okay";
};

&intmux_cm40 {
	status = "okay";
};

&rpmsg{
	/*
	 * 64K for one rpmsg instance:
	 * --0xb8000000~0xb800ffff: pingpong
	 */
	vdev-nums = <1>;
	reg = <0x0 0xb8000000 0x0 0x10000>;
	status = "okay";
};

&intmux_cm41 {
	status = "okay";
};

&rpmsg1{
	/*
	 * 64K for one rpmsg instance:
	 * --0xb8100000~0xb810ffff: pingpong
	 */
	vdev-nums = <1>;
	reg = <0x0 0xb8100000 0x0 0x10000>;
	status = "okay";
};

&lvds_backlight0 {
	pinctrl-names = "default";
	pinctrl-0 = <&pinctrl_lvds0_bklt0>, <&pinctrl_lvds0_vdd0>;
	gpios = <&gpio1 10 GPIO_ACTIVE_LOW>, <&gpio1 5 GPIO_ACTIVE_LOW>;
};

&lvds0_pwm {
	pinctrl-names = "default";
	pinctrl-0 = <&pinctrl_lvds0_pwm0>;
	status = "okay";
};
/*
&lvds1_pwm {
	pinctrl-names = "default";
	pinctrl-0 = <&pinctrl_lvds1_pwm0>;
	status = "okay";
};
*/
&ldb1_phy {
	status = "okay";
};
/*
&ldb1 {
	status = "okay";

	lvds-channel@0 {
		fsl,data-mapping = "jeida";
		fsl,data-width = <24>;
		status = "okay";

		port@1 {
			reg = <1>;

			lvds0_out: endpoint {
				remote-endpoint = <&it6263_0_in>;
			};
		};
	};
};
*/
/*
&i2c0_lvds0 {
	#address-cells = <1>;
	#size-cells = <0>;
	pinctrl-names = "default";
	pinctrl-0 = <&pinctrl_lvds0_lpi2c0>;
	clock-frequency = <100000>;
	status = "okay";
};

&i2c1_lvds0 {
	#address-cells = <1>;
	#size-cells = <0>;
	pinctrl-names = "default";
	pinctrl-0 = <&pinctrl_lvds0_lpi2c1>;
	clock-frequency = <100000>;
	status = "okay";
};
*/
///////////////////////////////////////////////////////////////////////////////
// original config for ROM-7720
///////////////////////////////////////////////////////////////////////////////

/ {
	board {
		compatible = "proc-board";
		board-type = "ROM-7720_A1";
		board-cpu = "QuadMax";
	};
	/*
	power-group {
		pinctrl-names = "default";
		pinctrl-0 = <&pinctrl_gpio_power>;
		gpios = <&gpio0 30 GPIO_ACTIVE_LOW>, <&gpio0 31 GPIO_ACTIVE_HIGH>, <&gpio1 2 GPIO_ACTIVE_HIGH>;
	};

	gpio-keys-sleep {
		pinctrl-names = "default";
		compatible = "gpio-keys";
		#address-cells = <1>;
		#size-cells = <0>;
		pinctrl-0 = <&pinctrl_gpio_sleep>;
		sleep@2 {
			label = "Sleep Button";
			gpios = <&gpio1 1 GPIO_ACTIVE_LOW>;
			linux,input-type = <1>; // EV_KEY
			linux,code = <116>; // KEY_SUSPEND
			debounce_interval = <1>;
			gpio-key,wakeup;
		};
	};

	battery-low {
		pinctrl-names = "default";
		pinctrl-0 = <&pinctrl_gpio_batlow>;
		gpios = <&gpio0 12 GPIO_ACTIVE_LOW>;
	};

	thermal {
		pinctrl-names = "default";
		pinctrl-0 = <&pinctrl_gpio_thrm>;
		gpios = <&gpio0 13 GPIO_ACTIVE_LOW>, <&gpio0 5 GPIO_ACTIVE_LOW>;
	};

	usb-over-current {
		pinctrl-names = "default";
		pinctrl-0 = <&pinctrl_gpio_usb_oc>;
		gpios = <&gpio0 0 GPIO_ACTIVE_LOW>, <&gpio0 2 GPIO_ACTIVE_LOW>, <&gpio0 1 GPIO_ACTIVE_LOW>;
	};
	lvds-backlight-panelpower {
		pinctrl-names = "default";
		pinctrl-0 = <&pinctrl_gpio_lvds0>;
		gpios = <&gpio1 10 GPIO_ACTIVE_LOW>, <&gpio1 5 GPIO_ACTIVE_LOW>;
	};
	watchdog {
		pinctrl-names = "default";
		pinctrl-0 = <&pinctrl_gpio_watchdog>;
		gpios = <&gpio3 30 GPIO_ACTIVE_HIGH>, <&gpio3 29 GPIO_ACTIVE_HIGH>;
	};

	i2s-reset {
		pinctrl-names = "default";
		pinctrl-0 = <&pinctrl_gpio_i2s_rst>;
		gpios = <&gpio2 20 GPIO_ACTIVE_HIGH>;
	};
	*/
};

&iomuxc {
	imx8qm-arm2 {
		pinctrl_gpio_power: gpio_power_grp{
			fsl,pins = <
				SC_P_SCU_GPIO0_02_LSIO_GPIO0_IO30		0x00000021
				SC_P_SCU_GPIO0_03_LSIO_GPIO0_IO31		0x00000021
				SC_P_SCU_GPIO0_06_LSIO_GPIO1_IO02		0x00000021
			>;
		};

		pinctrl_gpio_sleep: gpio_sleep_grp{
			fsl,pins = <
				SC_P_SCU_GPIO0_05_LSIO_GPIO1_IO01		0x00000021
			>;
		};

		pinctrl_common_gpio: common_gpio_grp{
			fsl,pins = <
				SC_P_M40_GPIO0_00_LSIO_GPIO0_IO08		0x00000021	/* GPIO0 */
				SC_P_M40_GPIO0_01_LSIO_GPIO0_IO09		0x00000021	/* GPIO1 */
				SC_P_FLEXCAN2_RX_LSIO_GPIO4_IO01		0x00000021	/* GPIO2 */
				SC_P_FLEXCAN2_TX_LSIO_GPIO4_IO02		0x00000021	/* GPIO3 */
				SC_P_ENET1_RGMII_TXC_LSIO_GPIO6_IO10	0x00000021	/* GPIO4 */
				SC_P_ENET1_RGMII_TX_CTL_LSIO_GPIO6_IO11	0x00000021	/* GPIO5 */
				SC_P_ENET1_RGMII_TXD0_LSIO_GPIO6_IO12	0x00000021	/* GPIO6 */
				SC_P_ENET1_RGMII_TXD1_LSIO_GPIO6_IO13	0x00000021	/* GPIO7 */
			>;
		};

		pinctrl_gpio_batlow: gpio_batlow_grp{
			fsl,pins = <
				SC_P_M41_GPIO0_00_LSIO_GPIO0_IO12		0x00000021
			>;
		};

		pinctrl_gpio_thrm: gpio_thrm_grp{
			fsl,pins = <
				SC_P_M41_GPIO0_01_LSIO_GPIO0_IO13		0x00000021
				SC_P_SIM0_GPIO0_00_LSIO_GPIO0_IO05		0x00000021
			>;
		};

		pinctrl_gpio_usb_oc: gpio_usb_oc_grp{
			fsl,pins = <
				SC_P_SIM0_CLK_LSIO_GPIO0_IO00		0x00000021
				SC_P_SIM0_IO_LSIO_GPIO0_IO02		0x00000021
				SC_P_SIM0_RST_LSIO_GPIO0_IO01		0x00000021
			>;
		};

		pinctrl_gpio_lvds0: gpio_lvds0_grp {
			fsl,pins = <
				SC_P_LVDS1_GPIO00_LSIO_GPIO1_IO10	0x00000021	
				SC_P_LVDS0_GPIO01_LSIO_GPIO1_IO05	0x00000021
			>;
		};

		pinctrl_gpio_watchdog: gpio_watchdog_grp{
			fsl,pins = <
				SC_P_FLEXCAN0_TX_LSIO_GPIO3_IO30		0x00000021
				SC_P_FLEXCAN0_RX_LSIO_GPIO3_IO29		0x00000021
			>;
		};

		pinctrl_gpio_i2s_rst: gpio_i2s_rst{
			fsl,pins = <
				SC_P_SPI3_CS0_LSIO_GPIO2_IO20		0x00000021
			>;
		};
/*
		pinctrl_fan: pwm_fanout_grp{
			fsl,pins = <
				SC_P_GPT1_COMPARE_LSIO_PWM2_OUT		0x00000021
			>;
		};
*/
	};
};

&hdmi {
	compatible = "fsl,imx8qm-hdmi";
	status = "okay";
};
